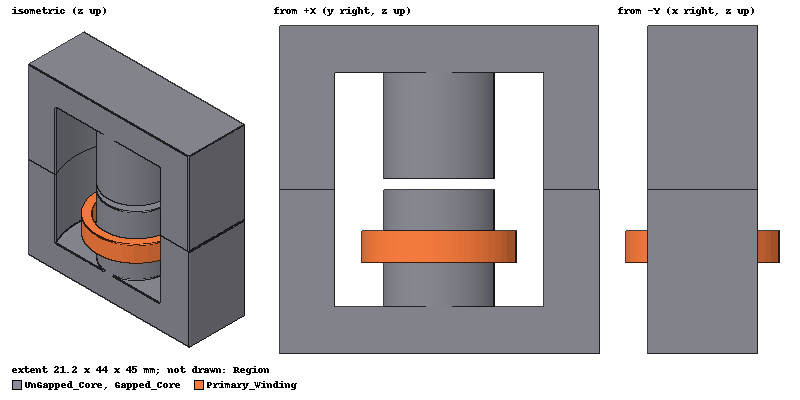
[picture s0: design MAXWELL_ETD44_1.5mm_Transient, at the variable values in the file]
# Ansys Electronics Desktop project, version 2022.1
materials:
  copper: permeability=0.999991 conductivity=58000000
  ferrite_N87_ETD44: permittivity=12 permeability=1650 conductivity=0.01
  vacuum: permittivity=1
  Ferrite_N87_ETD45_Coreloss: permittivity=12 permeability=1650 conductivity=0.01 core_loss_type="B-P Curve" mass_density=4600 core_loss_equiv_cut_depth=0.001meter core_loss_curves{PUnit=kw/m^3 BUnit=mTesla Frequency=100kHz Thickness=0.5mm BPCoordinates{DimUnits("", "") Points(0, 0, 30, 2, 40, 4, 50, 8, 60, 15, 70, 20, 80, 30, 90, 40, 100, 50, 200, 300)}}

design MAXWELL_ETD44_1.5mm_Transient (Maxwell 3D, EddyCurrent, model units mm)
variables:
  gap = 0mm
  air_gap = 1.5mm
  coil_current = 276A
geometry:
  Core_A = box(corner=(0mm, 0mm, 0mm), size=(15.2mm, 44mm, 22.5mm))
  Cylinder1 = cylinder(axis=Z, base_centre=(7.6mm, 21.9mm, 6.4mm), radius=16.25mm, height=16.1mm)
  Core_A.subtract(Cylinder1)
  UnGapped_Core [Ferrite_N87_ETD45_Coreloss] = cylinder(axis=Z, base_centre=(7.6mm, 21.9mm, 0mm), radius=7.6mm, height=22.5mm)
  UnGapped_Core.unite(Core_A)
  Gapped_Core [Ferrite_N87_ETD45_Coreloss] = box(corner=(0mm, 0mm, 45mm), size=(15.2mm, 43.8mm, -22.5mm))
  Cylinder2 = cylinder(axis=Z, base_centre=(7.6mm, 21.9mm, 22.5mm), radius=16.25mm, height=16.1mm)
  Gapped_Core.subtract(Cylinder2)
  Cylinder3 = cylinder(axis=Z, base_centre=(7.6mm, 21.9mm, 45mm), radius=7.6mm, height=-22.5mm + air_gap)
  Gapped_Core.unite(Cylinder3)
  Region [vacuum] = region(percentage_offset=100 on all sides)
  B_Area [non-model] = circle(normal=Z, centre=(7.6mm, 21.9mm, 22.5mm), radius=40mm)
  point Point1 = (7.6mm, 21.9mm, 22.5mm)
  Polyline1 [non-model] = polyline((8mm, 0mm, 22.5mm) (8mm, 44mm, 22.5mm))
  Polyline2 [non-model] = polyline((7mm, 14mm, 22.5mm) (7mm, 30mm, 22.5mm))
  Cylinder4 = cylinder(axis=Z, base_centre=(7.6mm, 21.9mm, 12.5mm), radius=8.6mm, height=10mm)
  Primary_Winding [copper] = cylinder(axis=Z, base_centre=(7.6mm, 21.9mm, 12.5mm), radius=10.6mm, height=4.375mm)
  Primary_Winding.subtract(Cylinder4)
  coordinate_system RelativeCS1 = origin=(7.6mm, 0mm, 0mm) x=(1mm, 0mm, 0mm) y=(0mm, 1mm, 0mm)
  Primary_Winding_Section1 [copper] = Primary_Winding.section(plane=YZ) in RelativeCS1
  Primary_Winding_Term2 [copper] = Primary_Winding_Section1.separate_bodies()
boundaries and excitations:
  Pri_Term1: Coil Terminal Objects=Primary_Winding_Section1 Conductor_number=69 Winding=Winding1 Point_out_of_terminal=false
  Winding1: Winding Group Type=Current IsSolid=false Current=1.74A ParallelBranchesNum=1 Phase=0deg
  eddy effects on: Primary_Winding
  core loss on: UnGapped_Core, Gapped_Core
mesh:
  initial mesh: GlobalCurvilinear{Apply}
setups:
  Setup1: EddyCurrent MaximumPasses=10 MinimumPasses=2 MinimumConvergedPasses=6 PercentRefinement=30 PercentError=1 ConstantDelta=0s NonLinearResidual=0.0001 Frequency=100kHz SweepRanges{50000Hz to 100000Hz step 50000Hz} SaveAllFields
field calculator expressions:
  gapped_core_coreloss = Fundamental_Quantity(47) | EnterVolume(Gapped_Core) | VolumeValue | Integrate
  ungapped_core_coreless = Fundamental_Quantity(47) | EnterVolume(UnGapped_Core) | VolumeValue | Integrate
  copper_loss = Ohmic-Loss | EnterVolume(Primary_Winding) | VolumeValue | Integrate
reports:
  Calculator Expressions Table 1: gapped_core_coreloss, ungapped_core_coreless, copper_loss vs Freq on Setup1 : LastAdaptive [Phase=0deg]
